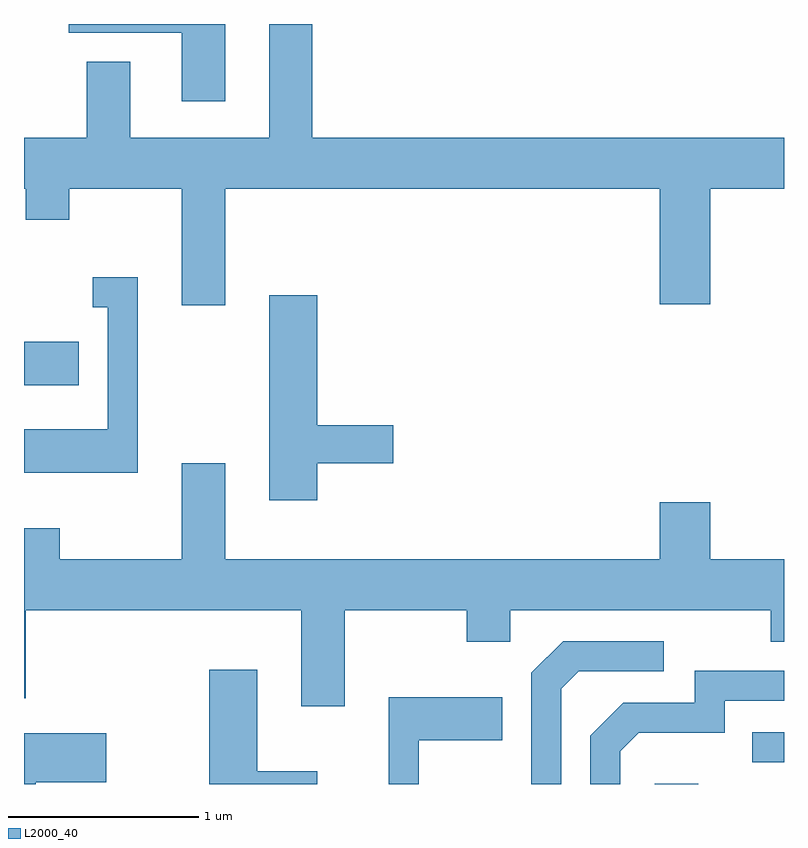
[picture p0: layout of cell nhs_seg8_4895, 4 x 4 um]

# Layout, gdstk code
import gdstk
lib = gdstk.Library(unit=1e-6, precision=1e-09)
def R(c, l, rs):  # rectangles x0, y0, x1, y1
    for r in rs: c.add(gdstk.rectangle(r[:2], r[2:], *l))
def P(c, l, *ps):  # polygons
    for p in ps: c.add(gdstk.Polygon(p, *l))
L2000_40 = (2000, 40)

nhs_seg8_4895 = lib.new_cell('nhs_seg8_4895')
R(nhs_seg8_4895, L2000_40, [(334.931,1884.342,335.159,1884.344), (335.443,1884.456,335.611,1884.614), (331.611,1886.441,331.899,1886.669)])
P(nhs_seg8_4895, L2000_40, [(332.669,1887.476),(334.956,1887.476),(334.956,1886.866),(335.224,1886.866),(335.224,1887.476),(335.611,1887.476),(335.611,1887.744),(333.129,1887.744),(333.129,1888.342),(332.901,1888.342),(332.901,1887.744),(332.169,1887.744),(332.169,1888.144),(331.941,1888.144),(331.941,1887.744),(331.611,1887.744),(331.611,1887.476),(331.621,1887.476),(331.621,1887.311),(331.849,1887.311),(331.849,1887.476),(332.441,1887.476),(332.441,1886.861),(332.669,1886.861)],
  [(332.669,1888.342),(331.846,1888.342),(331.846,1888.296),(332.441,1888.296),(332.441,1887.936),(332.669,1887.936)],
  [(332.209,1887.009),(331.973,1887.009),(331.973,1886.851),(332.051,1886.851),(332.051,1886.209),(331.611,1886.209),(331.611,1885.981),(332.209,1885.981)],
  [(333.154,1886.031),(333.554,1886.031),(333.554,1886.229),(333.154,1886.229),(333.154,1886.914),(332.901,1886.914),(332.901,1885.836),(333.154,1885.836)],
  [(331.611,1884.793),(331.619,1884.793),(331.619,1885.256),(333.071,1885.256),(333.071,1884.751),(333.299,1884.751),(333.299,1885.256),(333.941,1885.256),(333.941,1885.091),(334.169,1885.091),(334.169,1885.256),(335.541,1885.256),(335.541,1885.091),(335.611,1885.091),(335.611,1885.524),(335.224,1885.524),(335.224,1885.824),(334.956,1885.824),(334.956,1885.524),(332.669,1885.524),(332.669,1886.029),(332.441,1886.029),(332.441,1885.524),(331.799,1885.524),(331.799,1885.689),(331.611,1885.689)],
  [(334.439,1884.844),(334.532,1884.936),(334.978,1884.936),(334.978,1885.094),(334.449,1885.094),(334.281,1884.927),(334.281,1884.342),(334.439,1884.342)],
  [(333.154,1884.409),(332.839,1884.409),(332.839,1884.944),(332.586,1884.944),(332.586,1884.342),(333.154,1884.342)],
  [(334.749,1884.514),(334.847,1884.611),(335.299,1884.611),(335.299,1884.781),(335.611,1884.781),(335.611,1884.939),(335.141,1884.939),(335.141,1884.769),(334.764,1884.769),(334.591,1884.597),(334.591,1884.342),(334.749,1884.342)],
  [(333.689,1884.571),(334.129,1884.571),(334.129,1884.799),(333.531,1884.799),(333.531,1884.342),(333.689,1884.342)],
  [(331.674,1884.351),(332.044,1884.351),(332.044,1884.609),(331.611,1884.609),(331.611,1884.342),(331.674,1884.342)])

lib.write_gds('nhs_seg8_4895.gds')
